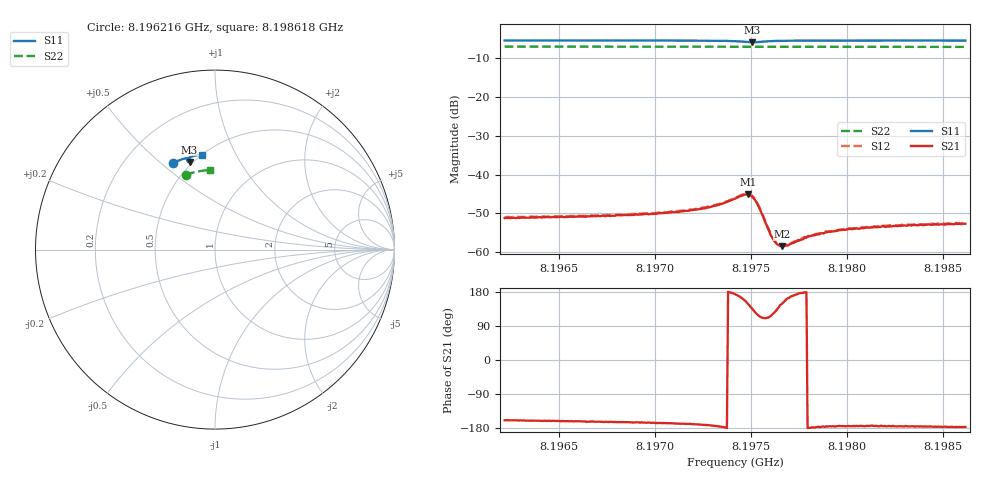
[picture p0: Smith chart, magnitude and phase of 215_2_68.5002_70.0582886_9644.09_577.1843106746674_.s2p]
#  HZ  S  RI  R  50.00
! Rohde & Schwarz Vector Network Analyzer
! Rohde-Schwarz,ZNB20-2Port,1311601062101988,3.16
! Created: UTC 3/20/2024, 5:13:19 PM
! freq[Hz]  re:S11  im:S11  re:S21  im:S21  re:S12  im:S12  re:S22  im:S22
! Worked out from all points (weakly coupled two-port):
!   401 points, 8.196216 GHz to 8.198618 GHz, reference 50 ohm
!   highest |S21| = -45.07 dB at 8.197483 GHz (marker M1); lowest = -58.4 dB at 8.197663 GHz (marker M2)
!   lowest |S11| = -5.9 dB at 8.197507 GHz (marker M3), VSWR 3.07, Z = 24 + j31.7 ohm
!   |S11| at or under -10 dB: nowhere
!   |S22| runs from -7.1 to -7.0 dB; largest |S21 - S12| = 0.00029
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8.1962164e9  -0.2338 0.4831  -0.00258 -0.000984  -0.00267 -0.000901  -0.1609 0.4177
8.1966186e9  -0.2071 0.4947  -0.00274 -0.000886  -0.00283 -0.000779  -0.1392 0.4249
8.1970208e9  -0.1789 0.5047  -0.00309 -0.000753  -0.00317 -0.000638  -0.1174 0.4306
8.1972549e9  -0.1596 0.5094  -0.00363 -0.000572  -0.00374 -0.000436  -0.1044 0.4334
8.197327e9  -0.1524 0.5099  -0.00402 -0.000367  -0.00414 -0.000228  -0.1004 0.4343
8.197417e9  -0.1409 0.5065  -0.00486 0.000533  -0.00499 0.000765  -0.0953 0.4352
8.1974591e9  -0.1361 0.4995  -0.00516 0.00178  -0.00518 0.00207  -0.0928 0.4354
8.1974831e9  -0.1367 0.4936  -0.00479 0.00285  -0.00478 0.00311  -0.0917 0.4355
8.1975071e9  -0.1418 0.4884  -0.00369 0.00368  -0.0036 0.00391  -0.0904 0.4356
8.1975191e9  -0.1455 0.4877  -0.00293 0.00381  -0.00286 0.00403  -0.09 0.4355
8.1975371e9  -0.1508 0.4895  -0.00191 0.00354  -0.00179 0.00372  -0.0891 0.4358
8.1975971e9  -0.1544 0.5021  -0.000744 0.00166  -0.000681 0.00174  -0.086 0.4368
8.1976151e9  -0.153 0.5051  -0.000803 0.00126  -0.000735 0.00131  -0.0848 0.437
8.1976392e9  -0.1508 0.508  -0.0009 0.000874  -0.00087 0.000926  -0.0835 0.4373
8.1976632e9  -0.1484 0.5101  -0.00103 0.000609  -0.00104 0.000663  -0.0823 0.4375
8.1976932e9  -0.1455 0.5121  -0.00117 0.000351  -0.00117 0.000411  -0.0804 0.4378
8.1977652e9  -0.1388 0.5155  -0.00146 8.24e-05  -0.0015 0.000105  -0.0763 0.4385
8.1978193e9  -0.1343 0.5173  -0.00165 -6.06e-05  -0.00164 4.44e-05  -0.0732 0.4389
8.1978913e9  -0.1283 0.5191  -0.0018 -0.00015  -0.00187 -5.07e-05  -0.0692 0.4395
8.1979693e9  -0.1222 0.5207  -0.00193 -0.000186  -0.00197 -0.000109  -0.0649 0.44
8.1982215e9  -0.1035 0.5248  -0.00214 -0.000216  -0.00223 -9.1e-05  -0.0506 0.4415
8.1986177e9  -0.075 0.5292  -0.00233 -0.000139  -0.00235 -3.29e-05  -0.0282 0.4426
